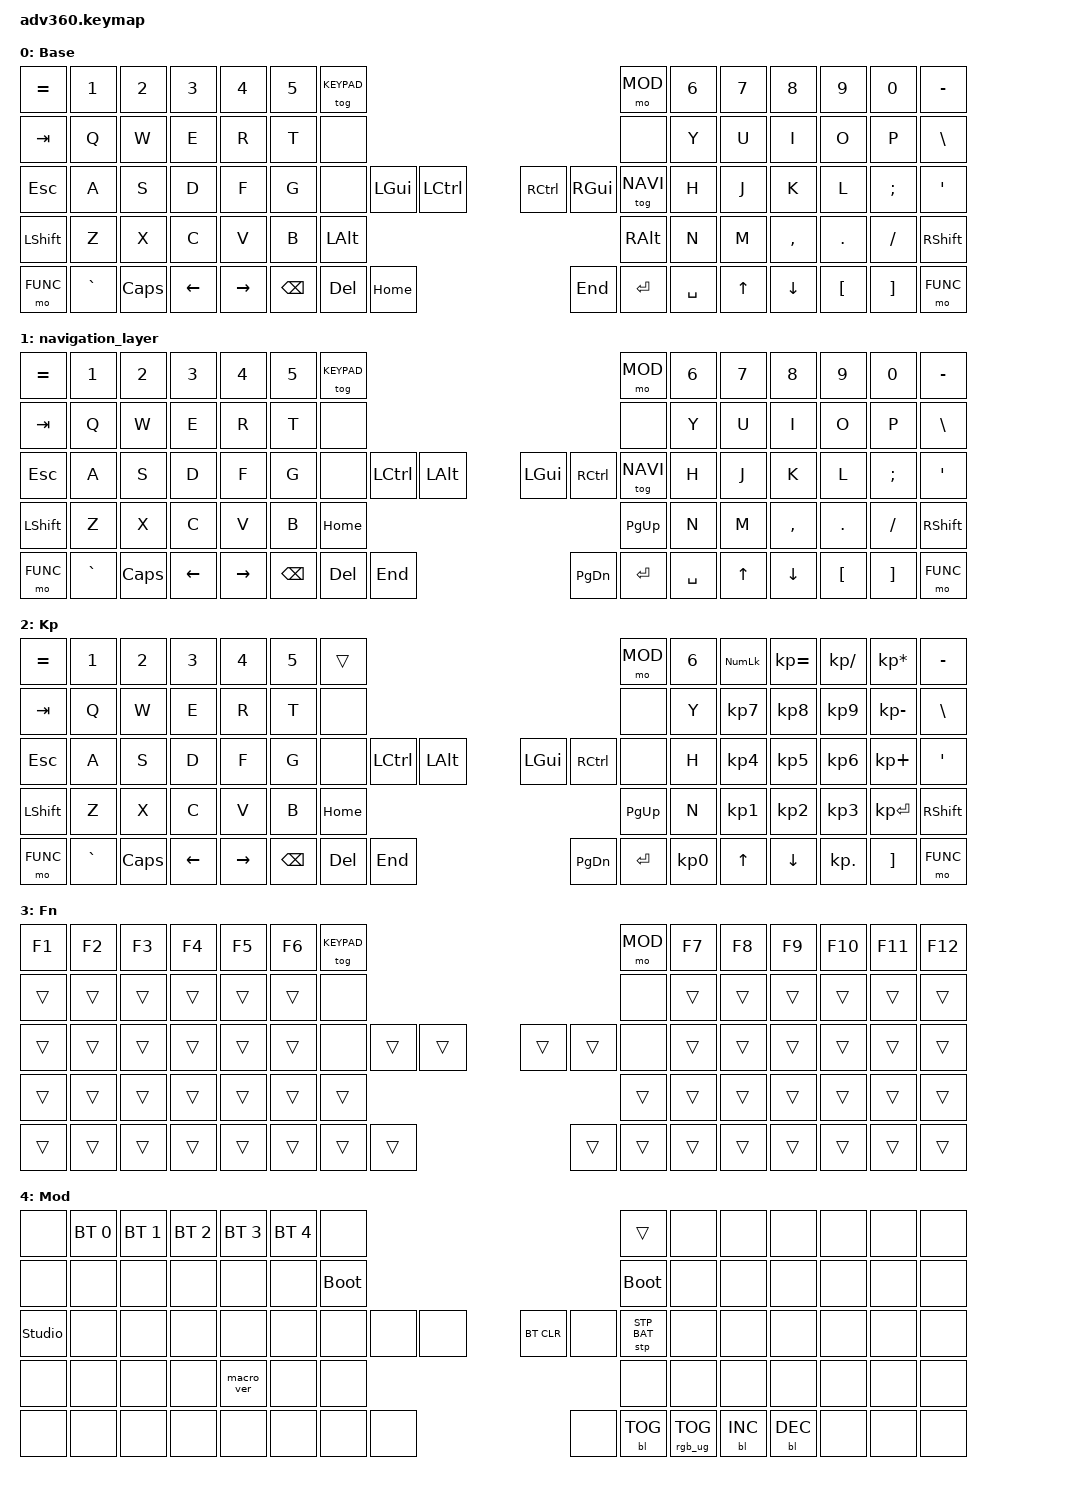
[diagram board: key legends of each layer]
#include <behaviors.dtsi>
#include <dt-bindings/zmk/keys.h>
#include <dt-bindings/zmk/bt.h>
#include <dt-bindings/zmk/rgb.h>
#include <dt-bindings/zmk/stp.h>
#include <dt-bindings/zmk/backlight.h>
#include <dt-bindings/zmk/pointing.h>

#define DEFAULT 0
#define NAVI    1
#define KEYPAD  2
#define FUNC    3
#define MOD     4

#define NONE    0

/ {
    behaviors {
      #include "macros.dtsi"
      #include "version.dtsi"

      hm: homerow_mods {
          compatible = "zmk,behavior-hold-tap";
          label = "HOMEROW_MODS";
          #binding-cells = <2>;
          tapping-term-ms = <200>;
          quick_tap_ms = <175>;
          flavor = "tap-preferred";
          bindings = <&kp>, <&kp>;
      };
    };

  keymap {
    compatible = "zmk,keymap";

    default_layer {
      display-name = "Base";
      bindings = <
        &kp EQUAL &kp N1    &kp N2   &kp N3   &kp N4     &kp N5 &tog KEYPAD                                                      &mo MOD &kp N6 &kp N7 &kp N8    &kp N9   &kp N0   &kp MINUS
        &kp TAB   &kp Q     &kp W    &kp E    &kp R      &kp T  &none                                                            &none &kp Y  &kp U  &kp I     &kp O    &kp P    &kp BSLH
        &kp ESC   &kp A     &kp S    &kp D    &kp F      &kp G  &none           &kp LGUI &kp LCTRL &kp RCTRL  &kp RGUI           &tog NAVI &kp H  &kp J  &kp K     &kp L    &kp SEMI &kp SQT
        &kp LSHFT &kp Z     &kp X    &kp C    &kp V      &kp B                            &kp LALT &kp RALT                           &kp N  &kp M  &kp COMMA &kp DOT  &kp FSLH &kp RSHFT
        &mo FUNC     &kp GRAVE &kp CAPS &kp LEFT &kp RIGHT                &kp BSPC &kp DEL   &kp HOME  &kp END &kp ENTER &kp SPACE              &kp UP &kp DOWN  &kp LBKT &kp RBKT &mo FUNC
      >;
    };
    navigation_layer {
      bindings = <
        &kp EQUAL &kp N1    &kp N2   &kp N3   &kp N4     &kp N5 &tog KEYPAD                                                            &mo MOD &kp N6 &kp N7 &kp N8    &kp N9   &kp N0   &kp MINUS
        &kp TAB   &kp Q     &kp W    &kp E    &kp R      &kp T  &none                                                                  &none &kp Y  &kp U  &kp I     &kp O    &kp P    &kp BSLH
        &kp ESC   &kp A     &kp S    &kp D    &kp F      &kp G  &none           &kp LCTRL &kp LALT             &kp LGUI  &kp RCTRL     &tog NAVI &kp H  &kp J  &kp K     &kp L    &kp SEMI &kp SQT
        &kp LSHFT &kp Z     &kp X    &kp C    &kp V      &kp B                            &kp HOME             &kp PG_UP                     &kp N  &kp M  &kp COMMA &kp DOT  &kp FSLH &kp RSHFT
        &mo FUNC  &kp GRAVE &kp CAPS &kp LEFT &kp RIGHT                &kp BSPC &kp DEL   &kp END              &kp PG_DN &kp ENTER &kp SPACE              &kp UP &kp DOWN  &kp LBKT &kp RBKT &mo FUNC
      >;
    };
    keypad {
      display-name = "Kp";
      bindings = <
        &kp EQUAL &kp N1    &kp N2   &kp N3   &kp N4     &kp N5 &trans                                                           &mo MOD &kp N6 &kp KP_NUM &kp KP_EQUAL &kp KP_DIVIDE &kp KP_MULTIPLY &kp MINUS
        &kp TAB   &kp Q     &kp W    &kp E    &kp R      &kp T  &none                                                            &none &kp Y  &kp KP_N7  &kp KP_N8    &kp KP_N9     &kp KP_MINUS    &kp BSLH
        &kp ESC   &kp A     &kp S    &kp D    &kp F      &kp G  &none           &kp LCTRL &kp LALT &kp LGUI  &kp RCTRL           &none &kp H  &kp KP_N4  &kp KP_N5    &kp KP_N6     &kp KP_PLUS     &kp SQT
        &kp LSHFT &kp Z     &kp X    &kp C    &kp V      &kp B                            &kp HOME &kp PG_UP                           &kp N  &kp KP_N1  &kp KP_N2    &kp KP_N3     &kp KP_ENTER    &kp RSHFT
        &mo FUNC     &kp GRAVE &kp CAPS &kp LEFT &kp RIGHT                &kp BSPC &kp DEL   &kp END  &kp PG_DN &kp ENTER &kp KP_N0              &kp UP     &kp DOWN     &kp KP_DOT    &kp RBKT        &mo FUNC
      >;
    };
    fn {
      display-name = "Fn";
      bindings = <
        &kp F1 &kp F2 &kp F3 &kp F4 &kp F5 &kp F6 &tog KEYPAD                                           &mo MOD &kp F7 &kp F8 &kp F9 &kp F10 &kp F11 &kp F12
        &trans &trans &trans &trans &trans &trans  &none                                           &none &trans &trans &trans &trans  &trans  &trans
        &trans &trans &trans &trans &trans &trans  &none        &trans &trans &trans &trans        &none &trans &trans &trans &trans  &trans  &trans
        &trans &trans &trans &trans &trans &trans                      &trans &trans                     &trans &trans &trans &trans  &trans  &trans
        &trans &trans &trans &trans &trans               &trans &trans &trans &trans &trans &trans              &trans &trans &trans  &trans  &trans
      >;
    };
    mod {
      display-name = "Mod";
      bindings = <
        &none &bt BT_SEL 0 &bt BT_SEL 1 &bt BT_SEL 2 &bt BT_SEL 3 &bt BT_SEL 4 &none                                                                     &trans                 &none        &none        &none        &none &none &none
        &none &none        &none        &none        &none        &none        &bootloader                                                               &bootloader            &none        &none        &none        &none &none &none
        &studio_unlock &none        &none        &none        &none        &none        &none                   &none &none &bt BT_CLR &none                      &stp STP_BAT &none        &none        &none        &none &none &none
        &none &none        &none        &none        &macro_ver   &none                                      &none &none                                                        &none        &none        &none        &none &none &none
        &none &none        &none        &none        &none                                       &none &none &none &none      &bl BL_TOG &rgb_ug RGB_TOG                                     &bl BL_INC   &bl BL_DEC   &none &none &none
      >;
    };
    extra1 { 
      display-name = "Red";    
      status = "reserved";
    };

    extra2 { 
      display-name = "Purple";    
      status = "reserved";
    };

    extra3 { 
      display-name = "Cyan";    
      status = "reserved";
    };

    extra4 { 
      display-name = "Yellow";    
      status = "reserved";
    };
  };
};
